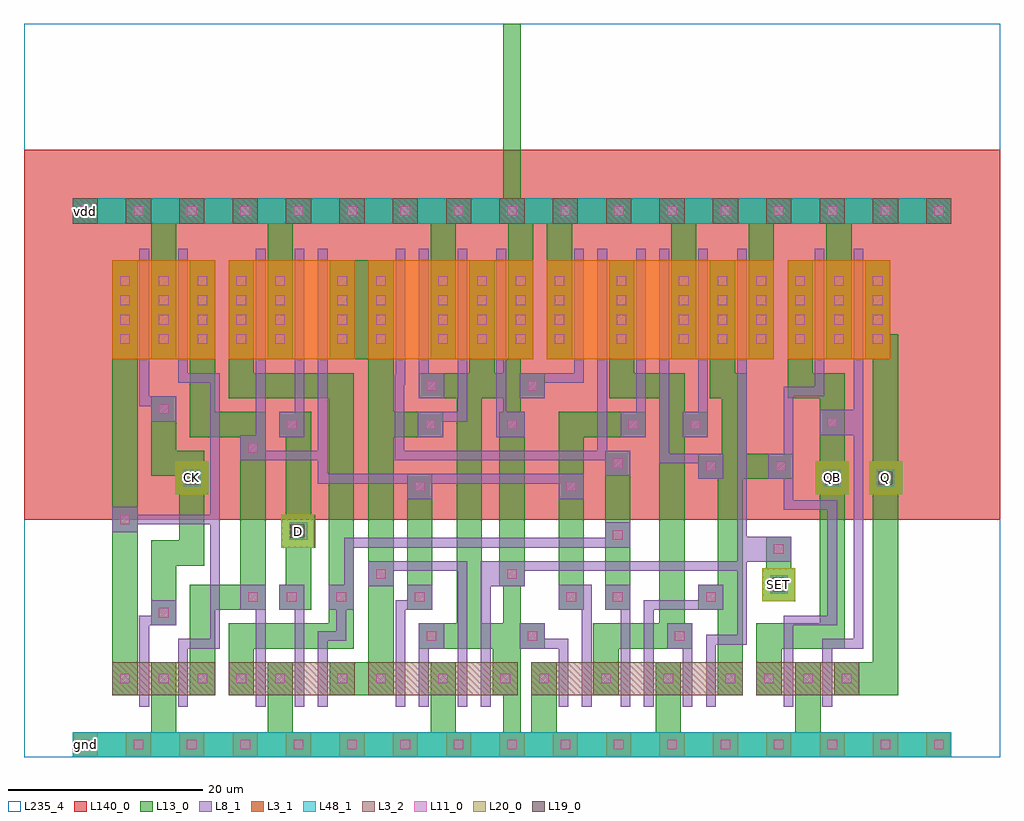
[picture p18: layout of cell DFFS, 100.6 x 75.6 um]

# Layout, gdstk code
import gdstk
lib = gdstk.Library(unit=1e-6, precision=1e-09)
def R(c, l, rs):  # rectangles x0, y0, x1, y1
    for r in rs: c.add(gdstk.rectangle(r[:2], r[2:], *l))
def A(c, l, x, y, w, h, nx, ny, dx, dy):  # array of equal rectangles
    R(c, l, [(x+i*dx, y+j*dy, x+i*dx+w, y+j*dy+h) for i in range(nx) for j in range(ny)])
def P(c, l, *ps):  # polygons
    for p in ps: c.add(gdstk.Polygon(p, *l))
L3_1 = (3, 1)
L3_2 = (3, 2)
L8_1 = (8, 1)
L11_0 = (11, 0)
L13_0 = (13, 0)
L19_0 = (19, 0)
L20_0 = (20, 0)
L48_1 = (48, 1)
L140_0 = (140, 0)
L235_4 = (235, 4)

dffs = lib.new_cell('DFFS')
A(dffs, L3_1, 5, 0, 2.6, 2.6, 17, 1, 5.5, 0)
R(dffs, L3_1, [(9.1,41,19.7,51.2), (21.1,41,34.1,51.2), (35.5,41,52.5,51.2), (53.9,41,77.3,51.2), (78.7,41,89.3,51.2)])
A(dffs, L3_2, 5, 55, 2.6, 2.6, 17, 1, 5.5, 0)
R(dffs, L3_2, [(9.1,6.4,19.7,9.8), (21.1,6.4,34.1,9.8), (35.5,6.4,50.9,9.8), (52.3,6.4,74.1,9.8), (75.5,6.4,86.1,9.8)])
P(dffs, L8_1, [(39.5,26.6),(39.5,28.2),(30.3,28.2),(30.3,30.6),(22.3,30.6),(22.3,33.2),(23.9,33.2),(23.9,52.4),(24.9,52.4),(24.9,31.6),(30.3,31.6),(30.3,52.4),(31.3,52.4),(31.3,29.2),(57.7,29.2),(57.7,26.6),(55.1,26.6),(55.1,28.2),(42.1,28.2),(42.1,26.6)],
  [(69.5,28.7),(69.5,30.3),(65.5,30.3),(65.5,52.4),(66.5,52.4),(66.5,31.3),(72.1,31.3),(72.1,28.7)],
  [(78.3,5.2),(78.3,14.6),(82.8,14.6),(82.8,25.5),(78.3,25.5),(78.3,28.7),(76.7,28.7),(76.7,31.3),(78.3,31.3),(78.3,38.2),(81.5,38.2),(81.5,52.4),(82.5,52.4),(82.5,37.2),(79.3,37.2),(79.3,26.5),(83.8,26.5),(83.8,13.6),(79.3,13.6),(79.3,5.2)],
  [(40.7,5.2),(40.7,13.8),(43.3,13.8),(43.3,11.2),(41.7,11.2),(41.7,5.2)],
  [(55.1,5.2),(55.1,11.2),(51.1,11.2),(51.1,13.8),(53.7,13.8),(53.7,12.2),(56.1,12.2),(56.1,5.2)],
  [(67.9,5.2),(67.9,11.2),(66.3,11.2),(66.3,13.8),(68.9,13.8),(68.9,5.2)],
  [(11.9,5.2),(11.9,14.6),(13.1,14.6),(13.1,16.2),(15.7,16.2),(15.7,13.6),(12.9,13.6),(12.9,5.2)],
  [(23.9,5.2),(23.9,15.2),(22.3,15.2),(22.3,17.8),(24.9,17.8),(24.9,5.2)],
  [(27.9,5.2),(27.9,15.2),(26.3,15.2),(26.3,17.8),(28.9,17.8),(28.9,5.2)],
  [(38.3,5.2),(38.3,16.2),(39.5,16.2),(39.5,17.8),(42.1,17.8),(42.1,15.2),(39.3,15.2),(39.3,5.2)],
  [(57.5,5.2),(57.5,15.2),(55.1,15.2),(55.1,17.8),(58.5,17.8),(58.5,5.2)],
  [(61.5,5.2),(61.5,15.2),(59.9,15.2),(59.9,17.8),(62.5,17.8),(62.5,5.2)],
  [(63.9,5.2),(63.9,16.2),(69.5,16.2),(69.5,17.8),(72.1,17.8),(72.1,15.2),(64.9,15.2),(64.9,5.2)],
  [(44.7,5.2),(44.7,19.2),(38.1,19.2),(38.1,17.6),(35.5,17.6),(35.5,20.2),(45.7,20.2),(45.7,5.2)],
  [(30.3,5.2),(30.3,13),(32.2,13),(32.2,15.2),(31.4,15.2),(31.4,17.8),(33,17.8),(33,22.6),(59.9,22.6),(59.9,24.2),(62.5,24.2),(62.5,21.6),(34,21.6),(34,15.2),(33.2,15.2),(33.2,12),(31.3,12),(31.3,5.2)],
  [(13.1,34.6),(13.1,36.2),(11.9,36.2),(11.9,52.4),(12.9,52.4),(12.9,37.2),(15.7,37.2),(15.7,34.6)],
  [(15.9,5.2),(15.9,12.2),(19.2,12.2),(19.2,24),(11.7,24),(11.7,23.2),(9.1,23.2),(9.1,25.8),(11.7,25.8),(11.7,25),(19.2,25),(19.2,38.6),(15.9,38.6),(15.9,52.4),(16.9,52.4),(16.9,39.6),(20.2,39.6),(20.2,11.2),(16.9,11.2),(16.9,5.2)],
  [(26.3,33),(26.3,35.6),(27.9,35.6),(27.9,52.4),(28.9,52.4),(28.9,33)],
  [(40.7,37),(40.7,52.4),(41.7,52.4),(41.7,39.6),(43.3,39.6),(43.3,37)],
  [(40.6,33),(40.6,35.6),(44.7,35.6),(44.7,52.4),(45.7,52.4),(45.7,34.6),(43.2,34.6),(43.2,33)],
  [(48.7,33),(48.7,52.4),(49.7,52.4),(49.7,35.6),(51.6,35.6),(51.6,33)],
  [(51.1,37),(51.1,39.6),(56.7,39.6),(56.7,52.4),(57.7,52.4),(57.7,38.6),(53.7,38.6),(53.7,37)],
  [(59.9,29),(59.9,30.6),(38.2,30.6),(38.2,39.4),(38.3,39.4),(38.3,52.4),(39.3,52.4),(39.3,38.4),(39.2,38.4),(39.2,31.6),(59.1,31.6),(59.1,52.4),(60.1,52.4),(60.1,31.6),(62.5,31.6),(62.5,29)],
  [(61.5,33),(61.5,35.6),(63.1,35.6),(63.1,52.4),(64.1,52.4),(64.1,33)],
  [(67.9,33),(67.9,35.6),(69.5,35.6),(69.5,52.4),(70.5,52.4),(70.5,33)],
  [(47.1,5.2),(47.1,20.2),(73.5,20.2),(73.5,52.4),(74.5,52.4),(74.5,22.75),(79.1,22.75),(79.1,20.15),(74.5,20.15),(74.5,11.6),(71.3,11.6),(71.3,5.2),(70.3,5.2),(70.3,12.6),(73.5,12.6),(73.5,19.2),(51.6,19.2),(51.6,17.6),(48.1,17.6),(48.1,5.2)],
  [(82.3,5.2),(82.3,12.2),(85.5,12.2),(85.5,33.2),(82,33.2),(82,35.8),(85.5,35.8),(85.5,52.4),(86.5,52.4),(86.5,11.2),(83.3,11.2),(83.3,5.2)])
A(dffs, L11_0, 5.8, 0.8, 1, 1, 17, 2, 5.5, 55)
A(dffs, L11_0, 13.9, 7.6, 1, 1, 4, 2, 4, 35)
A(dffs, L11_0, 72.3, 7.6, 1, 1, 3, 1, 4, 0)
A(dffs, L11_0, 9.9, 42.6, 1, 1, 1, 4, 0, 2)
A(dffs, L11_0, 13.9, 42.6, 1, 1, 1, 4, 0, 2)
A(dffs, L11_0, 25.9, 42.6, 1, 1, 1, 4, 0, 2)
A(dffs, L11_0, 32.3, 42.6, 1, 1, 1, 4, 0, 2)
A(dffs, L11_0, 36.3, 42.6, 1, 1, 1, 4, 0, 2)
A(dffs, L11_0, 46.7, 42.6, 1, 1, 1, 4, 0, 2)
A(dffs, L11_0, 46.7, 42.6, 1, 1, 3, 4, 4, 2)
A(dffs, L11_0, 71.5, 42.6, 1, 1, 1, 4, 0, 2)
A(dffs, L11_0, 71.5, 42.6, 1, 1, 4, 4, 4, 2)
A(dffs, L11_0, 83.5, 42.6, 1, 1, 1, 4, 0, 2)
A(dffs, L11_0, 87.5, 42.6, 1, 1, 1, 4, 0, 2)
A(dffs, L11_0, 13.9, 44.6, 1, 1, 4, 3, 4, 2)
R(dffs, L11_0, [(9.9,7.6,10.9,8.6), (13.9,7.6,14.9,8.6), (25.9,7.6,26.9,8.6), (32.3,7.6,33.3,8.6), (36.3,7.6,37.3,8.6), (42.7,7.6,43.7,8.6), (42.7,7.6,43.7,8.6), (49.1,7.6,50.1,8.6), (53.1,7.6,54.1,8.6), (59.5,7.6,60.5,8.6), (59.5,7.6,60.5,8.6), (65.9,7.6,66.9,8.6), (65.9,7.6,66.9,8.6), (80.3,7.6,81.3,8.6), (84.3,7.6,85.3,8.6), (41.5,12,42.5,13), (51.9,12,52.9,13), (67.1,12,68.1,13), (13.9,14.4,14.9,15.4), (23.1,16,24.1,17), (27.1,16,28.1,17), (32.2,16,33.2,17), (40.3,16,41.3,17), (55.9,16,56.9,17), (60.7,16,61.7,17), (70.3,16,71.3,17), (36.3,18.4,37.3,19.4), (49.8,18.4,50.8,19.4), (77.3,20.95,78.3,21.95), (60.7,22.4,61.7,23.4), (9.9,24,10.9,25), (40.3,27.4,41.3,28.4), (55.9,27.4,56.9,28.4), (70.3,29.5,71.3,30.5), (77.5,29.5,78.5,30.5), (60.7,29.8,61.7,30.8), (23.1,31.4,24.1,32.4), (27.1,33.8,28.1,34.8), (41.4,33.8,42.4,34.8), (49.8,33.8,50.8,34.8), (62.3,33.8,63.3,34.8), (68.7,33.8,69.7,34.8), (82.8,34,83.8,35), (13.9,35.4,14.9,36.4), (41.5,37.8,42.5,38.8), (51.9,37.8,52.9,38.8), (42.7,42.6,43.7,43.6), (42.7,42.6,43.7,43.6), (61.1,42.6,62.1,43.6), (61.1,42.6,62.1,43.6), (67.5,42.6,68.5,43.6), (67.5,42.6,68.5,43.6), (42.7,44.6,43.7,45.6), (42.7,44.6,43.7,45.6), (61.1,44.6,62.1,45.6), (61.1,44.6,62.1,45.6), (67.5,44.6,68.5,45.6), (67.5,44.6,68.5,45.6), (42.7,46.6,43.7,47.6), (42.7,46.6,43.7,47.6), (61.1,46.6,62.1,47.6), (61.1,46.6,62.1,47.6), (67.5,46.6,68.5,47.6), (67.5,46.6,68.5,47.6), (42.7,48.6,43.7,49.6), (42.7,48.6,43.7,49.6), (61.1,48.6,62.1,49.6), (61.1,48.6,62.1,49.6), (67.5,48.6,68.5,49.6), (67.5,48.6,68.5,49.6)])
R(dffs, L13_0, [(9.1,6.4,11.7,51.2), (39.5,15.2,42.1,29.2), (59.9,15.2,62.5,31.6)])
P(dffs, L13_0, [(76.1,16.1),(76.1,19.5),(76.5,19.5),(76.5,22.75),(79.1,22.75),(79.1,19.5),(79.5,19.5),(79.5,16.1)],
  [(26.3,15.2),(26.3,17.8),(27,17.8),(27,21.6),(26.5,21.6),(26.5,25),(27,25),(27,33),(26.3,33),(26.3,35.6),(29.6,35.6),(29.6,25),(30,25),(30,21.6),(29.6,21.6),(29.6,15.2)],
  [(55.1,15.2),(55.1,35.6),(64.1,35.6),(64.1,33),(57.7,33),(57.7,15.2)],
  [(13.1,13.6),(13.1,22.35),(16,22.35),(16,27.1),(15.6,27.1),(15.6,29),(13.1,29),(13.1,37.2),(15.7,37.2),(15.7,31.6),(18.6,31.6),(18.6,30.5),(19,30.5),(19,27.1),(18.6,27.1),(18.6,19.75),(15.7,19.75),(15.7,13.6)],
  [(17.1,6.4),(17.1,17.8),(22.3,17.8),(22.3,33),(17.1,33),(17.1,51.2),(19.7,51.2),(19.7,35.6),(24.9,35.6),(24.9,15.2),(19.7,15.2),(19.7,6.4)],
  [(21.1,6.4),(21.1,13.8),(31.4,13.8),(31.4,37),(21.1,37),(21.1,51.2),(23.7,51.2),(23.7,39.6),(34,39.6),(34,11.2),(23.7,11.2),(23.7,6.4)],
  [(31.5,6.4),(31.5,9.8),(35.5,9.8),(35.5,41),(31.5,41),(31.5,51.2),(38.1,51.2),(38.1,35.6),(43.2,35.6),(43.2,33),(38.1,33),(38.1,6.4)],
  [(58.7,6.4),(58.7,13.8),(65.5,13.8),(65.5,37),(60.3,37),(60.3,51.2),(62.9,51.2),(62.9,39.6),(68.1,39.6),(68.1,35.6),(70.5,35.6),(70.5,33),(68.1,33),(68.1,13.8),(68.9,13.8),(68.9,11.2),(61.3,11.2),(61.3,6.4)],
  [(71.5,6.4),(71.5,15.2),(69.5,15.2),(69.5,17.8),(71.5,17.8),(71.5,28.7),(69.5,28.7),(69.5,31.3),(71.9,31.3),(71.9,37),(70.7,37),(70.7,51.2),(73.3,51.2),(73.3,39.6),(74.5,39.6),(74.5,31.3),(79.3,31.3),(79.3,28.7),(74.1,28.7),(74.1,6.4)],
  [(75.5,6.4),(75.5,13.8),(82,13.8),(82,27.1),(81.6,27.1),(81.6,30.5),(82,30.5),(82,37),(78.7,37),(78.7,51.2),(81.3,51.2),(81.3,39.6),(84.6,39.6),(84.6,30.5),(85,30.5),(85,27.1),(84.6,27.1),(84.6,11.2),(78.1,11.2),(78.1,6.4)],
  [(83.5,6.4),(83.5,9.8),(87.5,9.8),(87.5,27.1),(87.1,27.1),(87.1,30.5),(87.5,30.5),(87.5,41),(86.7,41),(86.7,51.2),(89.3,51.2),(89.3,43.6),(90.1,43.6),(90.1,30.5),(90.5,30.5),(90.5,27.1),(90.1,27.1),(90.1,6.4)],
  [(5,0),(5,2.6),(13.1,2.6),(13.1,9.8),(15.7,9.8),(15.7,2.6),(25.1,2.6),(25.1,9.8),(27.7,9.8),(27.7,2.6),(41.9,2.6),(41.9,9.8),(44.5,9.8),(44.5,2.6),(49.4,2.6),(49.4,6.4),(48.3,6.4),(48.3,11.2),(40.7,11.2),(40.7,13.8),(44.6,13.8),(44.6,37),(47.2,37),(47.2,13.8),(49.4,13.8),(49.4,17.6),(49,17.6),(49,35.6),(49.4,35.6),(49.4,37),(40.7,37),(40.7,39.6),(45.9,39.6),(45.9,51.2),(48.5,51.2),(48.5,39.6),(49.4,39.6),(49.4,41),(49.9,41),(49.9,55),(44.5,55),(44.5,41),(41.9,41),(41.9,55),(27.7,55),(27.7,41),(25.1,41),(25.1,55),(15.7,55),(15.7,41),(13.1,41),(13.1,55),(5,55),(5,57.6),(49.4,57.6),(49.4,75.6),(51.2,75.6),(51.2,57.6),(95.6,57.6),(95.6,55),(85.3,55),(85.3,41),(82.7,41),(82.7,55),(77.3,55),(77.3,41),(74.7,41),(74.7,55),(69.3,55),(69.3,41),(66.7,41),(66.7,55),(56.5,55),(56.5,41),(53.9,41),(53.9,55),(52.5,55),(52.5,41),(51.2,41),(51.2,39.6),(53.7,39.6),(53.7,37),(51.2,37),(51.2,35.6),(51.6,35.6),(51.6,17.6),(51.2,17.6),(51.2,13.8),(53.7,13.8),(53.7,11.2),(51.2,11.2),(51.2,2.6),(52.3,2.6),(52.3,9.8),(54.9,9.8),(54.9,2.6),(65.1,2.6),(65.1,9.8),(67.7,9.8),(67.7,2.6),(79.5,2.6),(79.5,9.8),(82.1,9.8),(82.1,2.6),(95.6,2.6),(95.6,0)])
R(dffs, L19_0, [(77.1,17.1,78.5,18.5), (27.5,22.6,28.9,24), (16.6,28.1,18,29.5), (82.6,28.1,84,29.5), (88.1,28.1,89.5,29.5)])
R(dffs, L20_0, [(76.1,16.1,79.5,19.5), (26.5,21.6,29.9,25), (15.6,27.1,19,30.5), (81.6,27.1,85,30.5), (87.1,27.1,90.5,30.5)])
R(dffs, L48_1, [(5,0,95.6,2.6), (76.9,16.9,78.7,18.7), (27.4,22.4,29.2,24.2), (16.4,27.9,18.2,29.7), (82.4,27.9,84.2,29.7), (87.9,27.9,89.7,29.7), (5,55,95.6,57.6)])
R(dffs, L140_0, [(0,24.5,100.6,62.6)])
R(dffs, L235_4, [(0,0,100.6,75.6)])
dffs.add(gdstk.Label('SET', (77.8,17.8), layer=48, texttype=0))
dffs.add(gdstk.Label('D', (28.3,23.3), layer=48, texttype=0))
dffs.add(gdstk.Label('Q', (88.8,28.8), layer=48, texttype=0))
dffs.add(gdstk.Label('QB', (83.3,28.8), layer=48, texttype=0))
dffs.add(gdstk.Label('CK', (17.3,28.8), layer=48, texttype=0))
dffs.add(gdstk.Label('gnd', (6.3,1.3), layer=48, texttype=0))
dffs.add(gdstk.Label('vdd', (6.3,56.3), layer=48, texttype=0))
dffs.add(gdstk.Label('CK', (17.3,28.8), layer=49, texttype=0))
dffs.add(gdstk.Label('D', (28.2,23.3), layer=49, texttype=0))
dffs.add(gdstk.Label('Q', (88.8,28.8), layer=49, texttype=0))
dffs.add(gdstk.Label('QB', (83.3,28.8), layer=49, texttype=0))
dffs.add(gdstk.Label('SET', (77.8,17.8), layer=49, texttype=0))

lib.write_gds('DFFS.gds')
